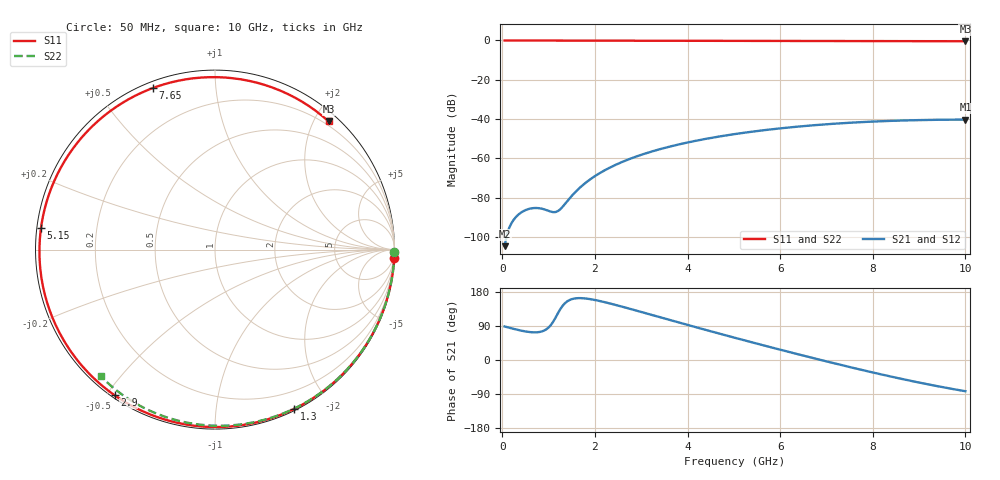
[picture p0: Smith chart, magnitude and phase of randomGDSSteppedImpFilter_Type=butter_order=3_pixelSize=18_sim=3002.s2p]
! freq	dB(S11)	phase(S11)	dB(S12)	phase(S12)
!  dB(S21)	phase(S21)	dB(S22)	phase(S22)
!S-par simulation data
#  GHz  S  DB  R 50
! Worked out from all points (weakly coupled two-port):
!   200 points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, 50 MHz to 10 GHz, reference 50 ohm
!   highest |S21| = -40.28 dB at 10 GHz (marker M1); lowest = -104.7 dB at 50 MHz (marker M2)
!   lowest |S11| = -0.4 dB at 10 GHz (marker M3), VSWR 42.81, Z = 6.91 + j111 ohm
!   |S11| at or under -10 dB: nowhere
!   |S22| runs from -0.4 to 0.0 dB; largest |S21 - S12| = 0
!   S11 on the Smith chart (normalised r, x): 50 MHz: 0, -44; 1.3 GHz: 0.02, -1.61; 2.9 GHz: 0.01, -0.53; 5.15 GHz: 0.01, +0.06; 7.65 GHz: 0.03, +0.69; 10 GHz: 0.14, +2.21
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0.05  -0.00 -2.6  -104.73 88.5  -104.73 88.5  -0.00 -0.8
0.3  -0.02 -15.4  -89.74 80.5  -89.74 80.5  -0.01 -4.6
0.6  -0.04 -30.5  -85.62 73.6  -85.62 73.6  -0.01 -9.1
0.95  -0.06 -47.4  -86.33 80.9  -86.33 80.9  -0.02 -14.4
1.3  -0.08 -63.5  -84.75 142.7  -84.75 142.7  -0.02 -19.6
1.45  -0.08 -70.1  -80.49 158.2  -80.49 158.2  -0.03 -21.9
1.75  -0.09 -82.8  -73.41 162.9  -73.41 162.9  -0.03 -26.3
2  -0.10 -92.7  -69.07 158.4  -69.07 158.4  -0.04 -30.0
2.25  -0.11 -102.2  -65.62 151.5  -65.62 151.5  -0.04 -33.7
2.9  -0.13 -124.6  -59.04 130.2  -59.04 130.2  -0.06 -43.0
3.4  -0.14 -140.1  -55.38 113.1  -55.38 113.1  -0.07 -50.1
3.8  -0.15 -151.7  -53.00 99.4  -53.00 99.4  -0.08 -55.7
4.2  -0.17 -162.7  -50.98 85.9  -50.98 85.9  -0.09 -61.2
4.6  -0.18 -173.2  -49.24 72.5  -49.24 72.5  -0.10 -66.6
5.05  -0.20 175.3  -47.56 57.7  -47.56 57.7  -0.11 -72.5
5.15  -0.20 172.8  -47.22 54.4  -47.22 54.4  -0.11 -73.8
5.9  -0.23 154.3  -45.02 30.4  -45.02 30.4  -0.14 -83.5
6.7  -0.27 134.8  -43.22 5.5  -43.22 5.5  -0.18 -93.5
7.65  -0.31 111.1  -41.70 -22.9  -41.70 -22.9  -0.24 -104.9
8.35  -0.34 93.1  -40.97 -42.6  -40.97 -42.6  -0.29 -113.1
9.15  -0.37 71.8  -40.48 -63.2  -40.48 -63.2  -0.36 -122.3
10  -0.41 48.5  -40.28 -82.4  -40.28 -82.4  -0.45 -132.0
